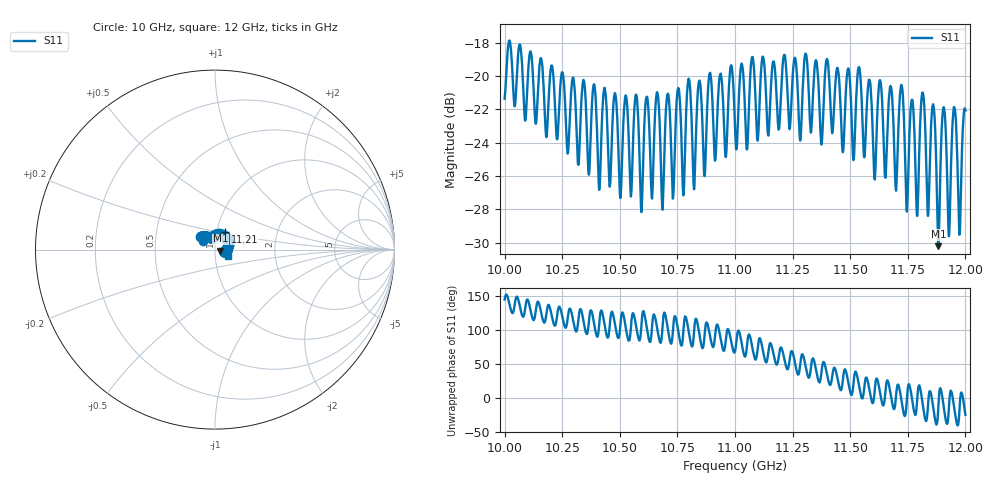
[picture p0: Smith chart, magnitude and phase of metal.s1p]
[Version] 2.0
! Rohde & Schwarz Vector Network Analyzer
! Rohde-Schwarz,ZNL20-2Port,1323001220200009,1.71.1.10-23.02.1.238
! Port Assignments:
! Nominal Port -> Actual Test Port
!  1 -> 1
! Created: GMT 2024-09-04 12:12:01
# Hz S DB R 50
[Number of Ports] 1
! freq[Hz]  S11[mag dB]  S11[ang]
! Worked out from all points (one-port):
!   2001 points, 10 GHz to 12 GHz, reference 50 ohm
!   lowest |S11| = -30.2 dB at 11.88 GHz (marker M1), VSWR 1.06, Z = 53.1 - j0.646 ohm
!   |S11| at or under -10 dB: start of sweep to end of sweep
!   S11 on the Smith chart (normalised r, x): 10 GHz: 0.87, +0.09; 11.21 GHz: 1.10, +0.22; 12 GHz: 1.15, -0.08
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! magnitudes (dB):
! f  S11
! 10 GHz  -21.4
! 10.25 GHz  -19.8
! 10.41 GHz  -26.8
! 10.48 GHz  -21.0
! 10.5 GHz  -27.0
! 10.57 GHz  -21.1
! 10.64 GHz  -27.4
! 10.66 GHz  -21.0
! 10.73 GHz  -27.3
! 10.75 GHz  -20.9
! 10.78 GHz  -27.2
! 10.8 GHz  -20.2
! 10.82 GHz  -26.8
! 10.85 GHz  -20.3
! 11 GHz  -23.1
! 11.21 GHz  -18.8
! 11.25 GHz  -20.1
! 11.5 GHz  -20.5
! 11.65 GHz  -26.1
! 11.68 GHz  -20.6
! 11.7 GHz  -26.9
! 11.72 GHz  -20.6
! 11.75 GHz  -26.9
! 11.81 GHz  -21.0
! 11.88 GHz  -30.2
! 11.9 GHz  -21.9
! 11.97 GHz  -29.5
! 12 GHz  -22.1
